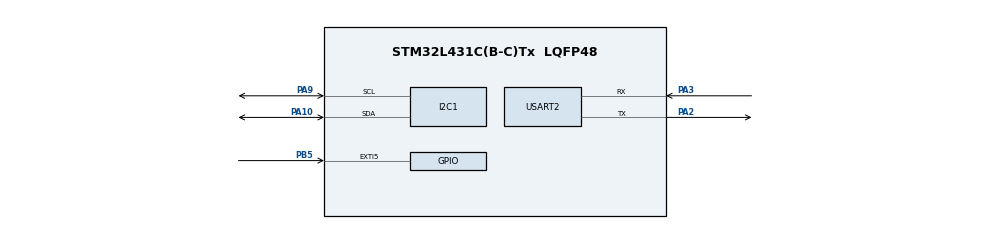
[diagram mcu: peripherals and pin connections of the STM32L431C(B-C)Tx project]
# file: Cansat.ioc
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I2C1.Timing=0x00100D14
Mcu.Family=STM32L4
Mcu.Name=STM32L431C(B-C)Tx
Mcu.Package=LQFP48
NVIC.PriorityGroup=NVIC_PRIORITYGROUP_4
PA10.Mode=I2C
PA10.Signal=I2C1_SDA
PA2.Mode=Asynchronous
PA2.Signal=USART2_TX
PA3.Mode=Asynchronous
PA3.Signal=USART2_RX
PA9.Mode=I2C
PA9.Signal=I2C1_SCL
PB5.Signal=GPXTI5
ProjectManager.HeapSize=0x200
ProjectManager.StackSize=0x400
ProjectManager.TargetToolchain=STM32CubeIDE
RCC.HSE_VALUE=8000000
RCC.HSI48_VALUE=48000000
RCC.HSI_VALUE=16000000
RCC.LSE_VALUE=32768
RCC.MSI_VALUE=4000000
RCC.VCOOutputFreq_Value=32000000
USART2.VirtualMode-Asynchronous=VM_ASYNC
board=custom

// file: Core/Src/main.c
/* USER CODE BEGIN Header */
/**
 ******************************************************************************
 * @file           : main.c
 * @brief          : Main program body
 ******************************************************************************
 * @attention
 *
 * Copyright (c) 2026 STMicroelectronics.
 * All rights reserved.
 *
 * This software is licensed under terms that can be found in the LICENSE file
 * in the root directory of this software component.
 * If no LICENSE file comes with this software, it is provided AS-IS.
 *
 ******************************************************************************
 */
/* USER CODE END Header */
#include "main.h"
/* USER CODE BEGIN Includes */
#include "stdbool.h"
#include "baro.h"
#include <stdio.h>
/* USER CODE END Includes */

I2C_HandleTypeDef hi2c1;

UART_HandleTypeDef huart2;

void SystemClock_Config(void);
static void MX_GPIO_Init(void);
static void MX_I2C1_Init(void);
static void MX_USART2_UART_Init(void);
/* USER CODE BEGIN PFP */
int __io_putchar(int ch)

	{
	HAL_UART_Transmit(&huart2, (uint8_t *)&ch, 1, HAL_MAX_DELAY);
	return ch;
	}

	int __io_getchar(void)
	{
	uint8_t ch = 0;
	__HAL_UART_CLEAR_OREFLAG(&huart2);
	HAL_UART_Receive(&huart2, (uint8_t *)&ch, 1, HAL_MAX_DELAY);
	HAL_UART_Transmit(&huart2, (uint8_t *)&ch, 1, HAL_MAX_DELAY);

	return ch;

	}
/* USER CODE END PFP */

int main(void)
{

  /* USER CODE BEGIN 1 */
static float alt;
  /* USER CODE END 1 */

  /* MCU Configuration--------------------------------------------------------*/

  /* Reset of all peripherals, Initializes the Flash interface and the Systick. */
  HAL_Init();

  /* Configure the system clock */
  SystemClock_Config();

  /* Initialize all configured peripherals */
  MX_GPIO_Init();
  MX_I2C1_Init();
  MX_USART2_UART_Init();
  /* USER CODE BEGIN 2 */
  BARO_Init();
  /* USER CODE END 2 */

  /* Infinite loop */
  /* USER CODE BEGIN WHILE */
	while (1)
  	{

			float * tab = ReadPressureTemp();
			float pression = tab[0];
			float altitude = altitute(pression);
			alt += altitude;

    /* USER CODE END WHILE */

	}
}

void SystemClock_Config(void)
{
  RCC_OscInitTypeDef RCC_OscInitStruct = {0};
  RCC_ClkInitTypeDef RCC_ClkInitStruct = {0};

  /** Configure the main internal regulator output voltage
  */
  if (HAL_PWREx_ControlVoltageScaling(PWR_REGULATOR_VOLTAGE_SCALE1) != HAL_OK)
  {
    Error_Handler();
  }

  /** Initializes the RCC Oscillators according to the specified parameters
  * in the RCC_OscInitTypeDef structure.
  */
  RCC_OscInitStruct.OscillatorType = RCC_OSCILLATORTYPE_MSI;
  RCC_OscInitStruct.MSIState = RCC_MSI_ON;
  RCC_OscInitStruct.MSICalibrationValue = 0;
  RCC_OscInitStruct.MSIClockRange = RCC_MSIRANGE_6;
  RCC_OscInitStruct.PLL.PLLState = RCC_PLL_NONE;
  if (HAL_RCC_OscConfig(&RCC_OscInitStruct) != HAL_OK)
  {
    Error_Handler();
  }

  /** Initializes the CPU, AHB and APB buses clocks
  */
  RCC_ClkInitStruct.ClockType = RCC_CLOCKTYPE_HCLK|RCC_CLOCKTYPE_SYSCLK
                              |RCC_CLOCKTYPE_PCLK1|RCC_CLOCKTYPE_PCLK2;
  RCC_ClkInitStruct.SYSCLKSource = RCC_SYSCLKSOURCE_MSI;
  RCC_ClkInitStruct.AHBCLKDivider = RCC_SYSCLK_DIV1;
  RCC_ClkInitStruct.APB1CLKDivider = RCC_HCLK_DIV1;
  RCC_ClkInitStruct.APB2CLKDivider = RCC_HCLK_DIV1;

  if (HAL_RCC_ClockConfig(&RCC_ClkInitStruct, FLASH_LATENCY_0) != HAL_OK)
  {
    Error_Handler();
  }
}

static void MX_I2C1_Init(void)
{

  hi2c1.Instance = I2C1;
  hi2c1.Init.Timing = 0x00100D14;
  hi2c1.Init.OwnAddress1 = 0;
  hi2c1.Init.AddressingMode = I2C_ADDRESSINGMODE_7BIT;
  hi2c1.Init.DualAddressMode = I2C_DUALADDRESS_DISABLE;
  hi2c1.Init.OwnAddress2 = 0;
  hi2c1.Init.OwnAddress2Masks = I2C_OA2_NOMASK;
  hi2c1.Init.GeneralCallMode = I2C_GENERALCALL_DISABLE;
  hi2c1.Init.NoStretchMode = I2C_NOSTRETCH_DISABLE;
  if (HAL_I2C_Init(&hi2c1) != HAL_OK)
  {
    Error_Handler();
  }

  /** Configure Analogue filter
  */
  if (HAL_I2CEx_ConfigAnalogFilter(&hi2c1, I2C_ANALOGFILTER_ENABLE) != HAL_OK)
  {
    Error_Handler();
  }

  /** Configure Digital filter
  */
  if (HAL_I2CEx_ConfigDigitalFilter(&hi2c1, 0) != HAL_OK)
  {
    Error_Handler();
  }

}

static void MX_USART2_UART_Init(void)
{

  /* USER CODE BEGIN USART2_Init 0 */
	  printf("coucou \n\r");
  /* USER CODE END USART2_Init 0 */

  huart2.Instance = USART2;
  huart2.Init.BaudRate = 115200;
  huart2.Init.WordLength = UART_WORDLENGTH_8B;
  huart2.Init.StopBits = UART_STOPBITS_1;
  huart2.Init.Parity = UART_PARITY_NONE;
  huart2.Init.Mode = UART_MODE_TX_RX;
  huart2.Init.HwFlowCtl = UART_HWCONTROL_NONE;
  huart2.Init.OverSampling = UART_OVERSAMPLING_16;
  huart2.Init.OneBitSampling = UART_ONE_BIT_SAMPLE_DISABLE;
  huart2.AdvancedInit.AdvFeatureInit = UART_ADVFEATURE_NO_INIT;
  if (HAL_UART_Init(&huart2) != HAL_OK)
  {
    Error_Handler();
  }

}

static void MX_GPIO_Init(void)
{
  GPIO_InitTypeDef GPIO_InitStruct = {0};

  /* GPIO Ports Clock Enable */
  __HAL_RCC_GPIOA_CLK_ENABLE();
  __HAL_RCC_GPIOB_CLK_ENABLE();

  /*Configure GPIO pin : PB5 */
  GPIO_InitStruct.Pin = GPIO_PIN_5;
  GPIO_InitStruct.Mode = GPIO_MODE_IT_RISING;
  GPIO_InitStruct.Pull = GPIO_NOPULL;
  HAL_GPIO_Init(GPIOB, &GPIO_InitStruct);

}

void Error_Handler(void)
{
	__disable_irq();
	while (1)
	{
	}
}
